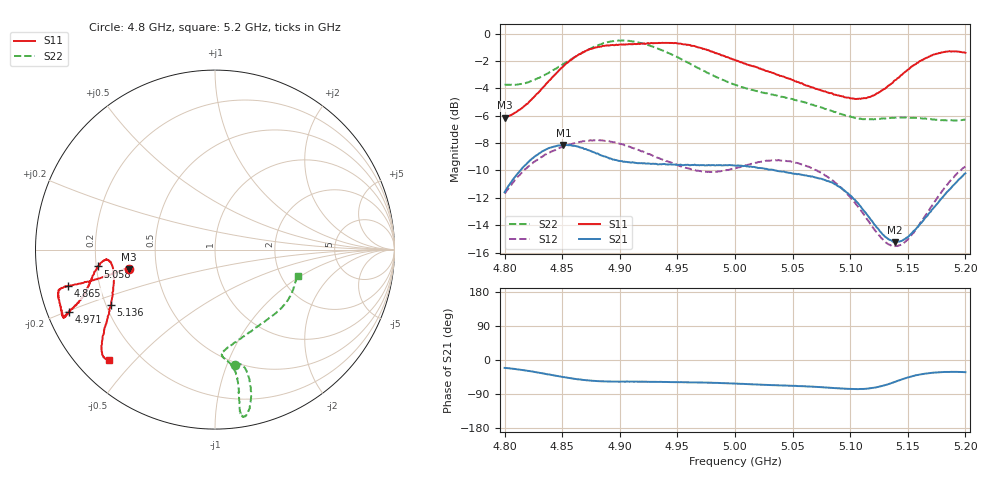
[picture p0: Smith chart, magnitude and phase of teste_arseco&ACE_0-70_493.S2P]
! Network Analyzer HP8722D
! Hewlett-Packard
! Data name: Linha & Wilkinson
! Saver's name: Rodrigo Anjos
! Comments: Teste da utilização de aquisição
! continua pelo VNA HP8722D
! Time and date: 8/5/2025 16:52
!  Frequency  S11  S21  S12  S22
# HZ  S  MA R 50
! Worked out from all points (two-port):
!   401 points, 4.8 GHz to 5.2 GHz, reference 50 ohm
!   highest |S21| = -8.13 dB at 4.851 GHz (marker M1); lowest = -15.2 dB at 5.139 GHz (marker M2)
!   |S21| within 3 dB of the highest: 4.803 GHz to 5.089 GHz (285.5 MHz wide, 5.77 % of centre); 5.188991 GHz to end of sweep
!   lowest |S11| = -6.1 dB at 4.8 GHz (marker M3), VSWR 2.95, Z = 17.2 - j4.92 ohm
!   |S11| at or under -10 dB: nowhere
!   |S22| runs from -6.4 to -0.5 dB; largest |S21 - S12| = 0.62
!   S11 on the Smith chart (normalised r, x): 4.8 GHz: 0.34, -0.10; 4.865 GHz: 0.09, -0.12; 4.971 GHz: 0.06, -0.20; 5.058 GHz: 0.21, -0.07; 5.136 GHz: 0.22, -0.24; 5.2 GHz: 0.09, -0.42
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4.8e9  0.4931 -167.3  0.2635 -20.9  0.2603 -142.0  0.6522 -80.3
4.826e9  0.59 -166.7  0.3554 -31.5  0.3406 -146.3  0.6783 -75.8
4.851e9  0.7607 -165.8  0.3922 -45.1  0.3866 -150.7  0.7757 -75.3
4.865e9  0.8427 -166.1  0.3845 -51.2  0.4017 -152.9  0.8414 -76.1
4.867e9  0.8513 -166.1  0.3826 -52.2  0.4033 -153.2  0.8505 -76.3
4.898e9  0.9096 -163.2  0.3439 -56.9  0.3972 -157.0  0.9434 -79.7
4.914e9  0.9162 -160.0  0.3369 -57.1  0.3781 -157.6  0.9342 -81.1
4.934e9  0.9258 -156.6  0.3331 -57.9  0.3508 -156.0  0.8783 -81.2
4.971e9  0.8857 -156.8  0.3307 -59.7  0.3138 -146.8  0.7388 -80.2
5e9  0.8018 -159.5  0.3294 -62.3  0.3223 -137.8  0.6506 -81.9
5.033e9  0.7192 -165.5  0.318 -66.4  0.3441 -135.2  0.5988 -85.9
5.058e9  0.6597 -171.8  0.305 -69.1  0.3325 -137.1  0.5652 -84.7
5.067e9  0.6372 -173.6  0.3008 -70.3  0.3221 -137.9  0.5502 -82.7
5.083e9  0.6069 -174.7  0.2867 -73.4  0.2942 -139.4  0.5242 -76.4
5.101e9  0.5809 -171.5  0.2546 -76.5  0.2498 -139.5  0.4963 -65.7
5.116e9  0.587 -164.2  0.2143 -75.3  0.2061 -135.0  0.4866 -54.8
5.134e9  0.6486 -153.1  0.1764 -62.7  0.1693 -118.3  0.4919 -42.7
5.136e9  0.6581 -151.9  0.1752 -60.8  0.1672 -115.8  0.4924 -41.6
5.139e9  0.6768 -150.5  0.1733 -57.4  0.1673 -111.7  0.4935 -39.8
5.151e9  0.7422 -145.3  0.1821 -45.4  0.1791 -96.6  0.4938 -33.5
5.173e9  0.8407 -138.9  0.2324 -33.3  0.2421 -80.8  0.486 -24.2
5.2e9  0.8519 -133.8  0.3086 -32.2  0.3269 -77.8  0.4846 -17.7
